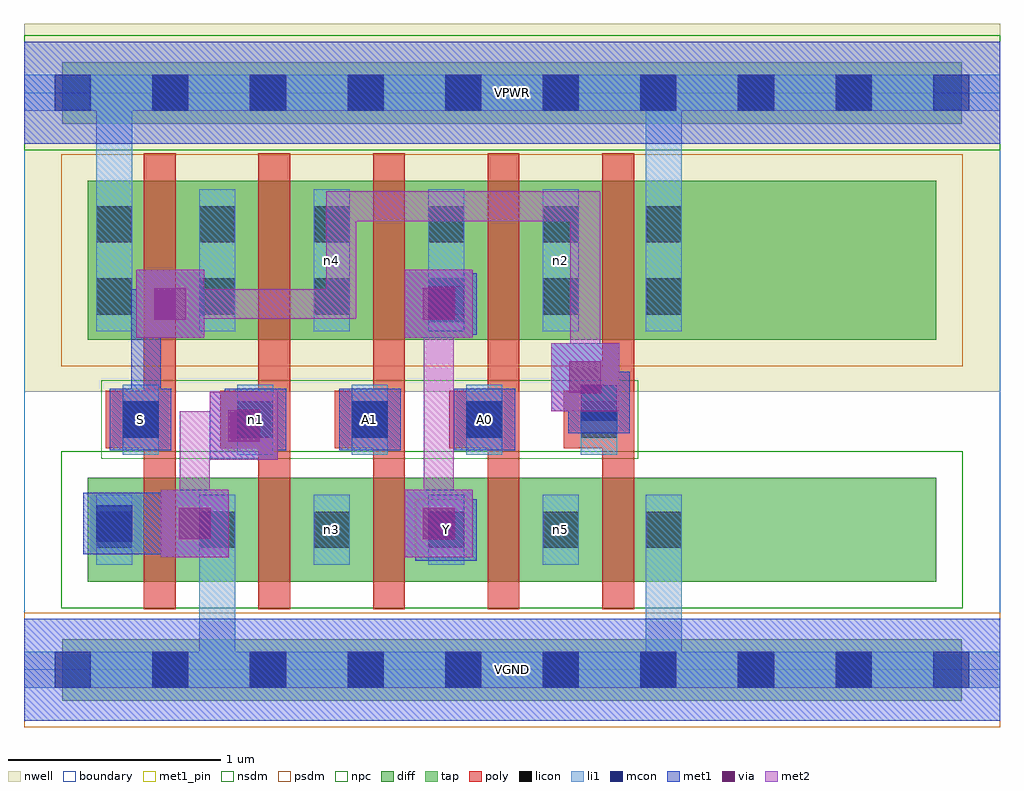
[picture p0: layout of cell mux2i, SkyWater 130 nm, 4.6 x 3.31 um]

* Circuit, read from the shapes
.subckt mux2i A0 A1 S VGND VPWR Y n1 n2 n3 n4 n5
XM1 VGND S n1 VGND sky130_fd_pr__nfet_01v8 w=0.49 l=0.15
XM2 n3 n1 VGND VGND sky130_fd_pr__nfet_01v8 w=0.49 l=0.15
XM3 Y A1 n3 VGND sky130_fd_pr__nfet_01v8 w=0.49 l=0.15
XM4 n5 A0 Y VGND sky130_fd_pr__nfet_01v8 w=0.49 l=0.15
XM5 VGND S n5 VGND sky130_fd_pr__nfet_01v8 w=0.49 l=0.15
XM6 n6 S VPWR VPWR sky130_fd_pr__pfet_01v8 w=0.75 l=0.15
XM7 n4 n1 n6 VPWR sky130_fd_pr__pfet_01v8 w=0.75 l=0.15
XM8 Y A1 n4 VPWR sky130_fd_pr__pfet_01v8 w=0.75 l=0.15
XM9 n2 A0 Y VPWR sky130_fd_pr__pfet_01v8 w=0.75 l=0.15
XM10 VPWR S n2 VPWR sky130_fd_pr__pfet_01v8 w=0.75 l=0.15
.ends

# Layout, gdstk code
import gdstk
lib = gdstk.Library(unit=1e-6, precision=1e-09)
def R(c, l, rs):  # rectangles x0, y0, x1, y1
    for r in rs: c.add(gdstk.rectangle(r[:2], r[2:], *l))
def A(c, l, x, y, w, h, nx, ny, dx, dy):  # array of equal rectangles
    R(c, l, [(x+i*dx, y+j*dy, x+i*dx+w, y+j*dy+h) for i in range(nx) for j in range(ny)])
nwell = (64, 20)
diff = (65, 20)
tap = (65, 44)
poly = (66, 20)
licon = (66, 44)
li1 = (67, 20)
mcon = (67, 44)
met1_pin = (68, 16)
met1 = (68, 20)
via = (68, 44)
met2 = (69, 20)
nsdm = (93, 44)
psdm = (94, 20)
npc = (95, 20)
boundary = (235, 4)

mux2i = lib.new_cell('mux2i')
R(mux2i, nwell, [(0,1.31,4.6,3.045)])
R(mux2i, diff, [(0.3,0.415,4.3,0.905), (0.3,1.555,4.3,2.305)])
R(mux2i, tap, [(0.18,-0.145,4.42,0.145), (0.18,2.575,4.42,2.865)])
A(mux2i, poly, 0.565, 0.285, 0.15, 2.15, 5, 1, 0.54, 0)
A(mux2i, poly, 0.385, 1.045, 0.33, 0.27, 5, 1, 0.54, 0)
A(mux2i, licon, 0.605, -0.085, 0.17, 0.17, 8, 2, 0.46, 2.72)
A(mux2i, licon, 0.825, 0.575, 0.17, 0.17, 4, 2, 0.54, 1.1)
A(mux2i, licon, 0.465, 1.095, 0.17, 0.17, 5, 1, 0.54, 0)
A(mux2i, licon, 0.825, 2.015, 0.17, 0.17, 4, 1, 0.54, 0)
R(mux2i, licon, [(0.34,0.575,0.51,0.745), (2.93,0.575,3.1,0.745), (0.34,1.675,0.51,1.845), (2.93,1.675,3.1,1.845), (0.34,2.015,0.51,2.185), (2.93,2.015,3.1,2.185)])
A(mux2i, li1, 0.825, 0.495, 0.17, 0.33, 4, 1, 0.54, 0)
A(mux2i, li1, 0.465, 1.015, 0.17, 0.33, 5, 1, 0.54, 0)
A(mux2i, li1, 0.825, 1.595, 0.17, 0.67, 4, 1, 0.54, 0)
R(mux2i, li1, [(0,-0.085,4.6,0.085), (0.825,-0.085,0.995,0.825), (2.93,-0.085,3.1,0.825), (0.34,0.495,0.51,0.825), (2.93,0.495,3.1,0.825), (0.34,1.595,0.51,2.265), (0.34,1.595,0.51,2.805), (2.93,1.595,3.1,2.265), (2.93,1.595,3.1,2.805), (0,2.635,4.6,2.805)])
A(mux2i, mcon, 0.145, -0.085, 0.17, 0.17, 10, 2, 0.46, 2.72)
A(mux2i, mcon, 0.465, 1.095, 0.17, 0.17, 4, 1, 0.54, 0)
R(mux2i, mcon, [(1.905,0.575,2.075,0.745), (0.34,0.605,0.51,0.775), (2.625,1.175,2.795,1.345), (1.905,1.64,2.075,1.81)])
A(mux2i, met1_pin, 0.405, 1.035, 0.29, 0.29, 4, 1, 0.54, 0)
R(mux2i, met1_pin, [(0,-0.24,4.6,0.24), (1.845,0.515,2.135,0.805), (0,2.48,4.6,2.96)])
A(mux2i, met1, 0.405, 1.035, 0.29, 0.29, 4, 1, 0.54, 0)
R(mux2i, met1, [(0,-0.24,4.6,0.24), (1.845,0.515,2.135,0.805), (0.645,0.53,0.965,0.85), (1.795,0.53,2.115,0.85), (0.28,0.545,0.57,0.835), (0.57,0.545,0.645,0.835), (0.355,0.62,0.645,0.76), (0.505,0.62,0.875,0.76), (1.885,0.62,2.025,0.76), (0.875,0.99,1.195,1.31), (0.505,1.08,0.645,1.22), (0.505,1.08,0.645,1.795), (0.965,1.08,1.105,1.22), (2.565,1.115,2.855,1.405), (2.575,1.19,2.78,1.33), (2.575,1.19,2.715,1.45), (2.485,1.22,2.805,1.54), (0.53,1.565,0.85,1.885), (1.795,1.565,2.115,1.885), (1.845,1.58,2.135,1.87), (0.505,1.655,0.76,1.795), (1.885,1.655,2.06,1.795), (0,2.48,4.6,2.96)])
R(mux2i, via, [(0.73,0.615,0.88,0.765), (1.88,0.615,2.03,0.765), (0.96,1.075,1.11,1.225), (2.57,1.305,2.72,1.455), (0.615,1.65,0.765,1.8), (1.88,1.65,2.03,1.8)])
R(mux2i, met2, [(0.645,0.53,0.965,0.85), (1.795,0.53,2.115,0.85), (0.735,0.62,0.875,1.22), (1.885,0.62,2.025,1.795), (0.875,0.99,1.195,1.31), (0.735,1.08,1.105,1.22), (2.485,1.22,2.805,1.54), (2.575,1.31,2.715,2.255), (0.53,1.565,0.85,1.885), (1.795,1.565,2.115,1.885), (0.62,1.655,1.565,1.795), (1.425,1.655,1.565,2.255), (1.425,2.115,2.715,2.255)])
R(mux2i, nsdm, [(0.175,0.29,4.425,1.03), (0,2.45,4.6,2.99)])
R(mux2i, psdm, [(0,-0.27,4.6,0.27), (0.175,1.43,4.425,2.43)])
R(mux2i, npc, [(0.365,0.995,2.895,1.365)])
R(mux2i, boundary, [(0,0,4.6,2.72)])
mux2i.add(gdstk.Label('n3', (1.45,0.66), layer=67, texttype=5))
mux2i.add(gdstk.Label('n5', (2.53,0.66), layer=67, texttype=5))
mux2i.add(gdstk.Label('n4', (1.45,1.93), layer=67, texttype=5))
mux2i.add(gdstk.Label('n2', (2.53,1.93), layer=67, texttype=5))
mux2i.add(gdstk.Label('S', (0.55,1.18), layer=68, texttype=5))
mux2i.add(gdstk.Label('n1', (1.09,1.18), layer=68, texttype=5))
mux2i.add(gdstk.Label('A1', (1.63,1.18), layer=68, texttype=5))
mux2i.add(gdstk.Label('A0', (2.17,1.18), layer=68, texttype=5))
mux2i.add(gdstk.Label('Y', (1.99,0.66), layer=68, texttype=5))
mux2i.add(gdstk.Label('VPWR', (2.3,2.72), layer=68, texttype=5))
mux2i.add(gdstk.Label('VGND', (2.3,0), layer=68, texttype=5))
mux2i.add(gdstk.Label('S', (0.55,1.18), layer=68, texttype=16))
mux2i.add(gdstk.Label('n1', (1.09,1.18), layer=68, texttype=16))
mux2i.add(gdstk.Label('A1', (1.63,1.18), layer=68, texttype=16))
mux2i.add(gdstk.Label('A0', (2.17,1.18), layer=68, texttype=16))
mux2i.add(gdstk.Label('Y', (1.99,0.66), layer=68, texttype=16))
mux2i.add(gdstk.Label('VPWR', (2.3,2.72), layer=68, texttype=16))
mux2i.add(gdstk.Label('VGND', (2.3,0), layer=68, texttype=16))

lib.write_gds('mux2i.gds')
